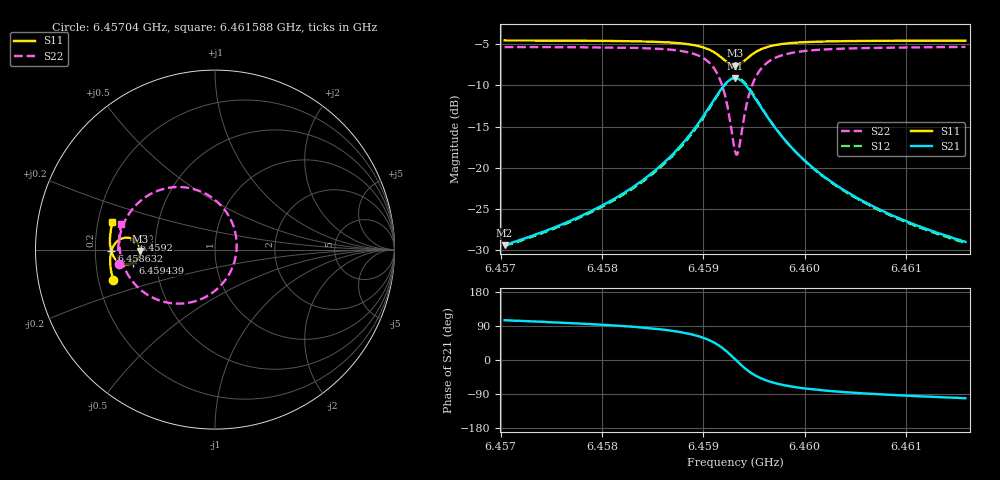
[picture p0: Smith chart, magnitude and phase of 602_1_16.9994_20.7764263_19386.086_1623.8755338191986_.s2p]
#  HZ  S  RI  R  50.00
! Rohde & Schwarz Vector Network Analyzer
! Rohde-Schwarz,ZNB20-2Port,1311601062101988,3.16
! Created: UTC 3/20/2024, 11:19:04 PM
! freq[Hz]  re:S11  im:S11  re:S21  im:S21  re:S12  im:S12  re:S22  im:S22
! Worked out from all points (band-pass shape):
!   401 points, 6.45704 GHz to 6.461588 GHz, reference 50 ohm
!   highest |S21| = -9.12 dB at 6.459314 GHz (marker M1); lowest = -29.4 dB at 6.45704 GHz (marker M2)
!   |S21| within 3 dB of the highest: 6.459087 GHz to 6.459542 GHz (454.9 kHz wide, 0.00704 % of centre)
!   lowest |S11| = -7.6 dB at 6.459314 GHz (marker M3), VSWR 2.43, Z = 20.6 - j0.406 ohm
!   |S11| at or under -10 dB: nowhere
!   |S22| runs from -18.4 to -5.3 dB; largest |S21 - S12| = 0.014
!   S11 on the Smith chart (normalised r, x): 6.45704 GHz: 0.26, -0.13; 6.458632 GHz: 0.27, -0.01; 6.4592 GHz: 0.38, +0.05; 6.459439 GHz: 0.37, -0.07; 6.461588 GHz: 0.26, +0.12
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6.4570404e9  -0.5681 -0.1674  -0.0087 0.0329  -0.0069 0.0328  -0.5341 -0.0788
6.4578021e9  -0.5815 -0.1005  -0.00527 0.0511  -0.0027 0.0506  -0.5386 0.0112
6.4582e9  -0.5839 -0.0604  0.000375 0.0694  0.00359 0.0679  -0.5306 0.0744
6.4585638e9  -0.5798 -0.017  0.0151 0.0999  0.0191 0.0971  -0.5034 0.1565
6.458632e9  -0.5774 -0.00733  0.0204 0.1084  0.0246 0.105  -0.493 0.1767
6.4588253e9  -0.5645 0.023  0.0476 0.1395  0.0517 0.1344  -0.4421 0.2461
6.458973e9  -0.5415 0.0492  0.0936 0.1701  0.0967 0.1632  -0.3572 0.3107
6.4591095e9  -0.4973 0.0665  0.1818 0.1863  0.1826 0.1789  -0.1957 0.3487
6.4592004e9  -0.4522 0.0559  0.2725 0.1543  0.2727 0.1484  -0.0275 0.2966
6.4592686e9  -0.4229 0.0233  0.3334 0.0814  0.3356 0.0761  0.0889 0.1649
6.4593141e9  -0.416 -0.00813  0.3498 0.0127  0.3535 0.00565  0.1211 0.0359
6.4593482e9  -0.42 -0.032  0.3436 -0.0405  0.3477 -0.0496  0.109 -0.0649
6.4593937e9  -0.4359 -0.0585  0.3146 -0.101  0.3168 -0.1131  0.0499 -0.1795
6.4594391e9  -0.4581 -0.0749  0.2717 -0.1424  0.271 -0.1559  -0.0368 -0.2552
6.4595301e9  -0.5022 -0.082  0.1857 -0.1736  0.1795 -0.1853  -0.2085 -0.3012
6.4595983e9  -0.5266 -0.0745  0.1368 -0.1715  0.1285 -0.1806  -0.3032 -0.2855
6.4596779e9  -0.5464 -0.0614  0.0968 -0.1592  0.0881 -0.1654  -0.3785 -0.2502
6.459837e9  -0.5681 -0.0336  0.0516 -0.1307  0.0437 -0.1334  -0.4596 -0.1768
6.4600758e9  -0.5809 0.00201  0.0221 -0.0985  0.0162 -0.0991  -0.5076 -0.0932
6.4604282e9  -0.5854 0.0442  0.00586 -0.0707  0.00155 -0.0701  -0.5295 -0.0113
6.4608374e9  -0.5834 0.0854  -0.00172 -0.0525  -0.00453 -0.0516  -0.5331 0.0549
6.4615877e9  -0.5713 0.152  -0.00676 -0.0349  -0.00839 -0.034  -0.5216 0.1443
